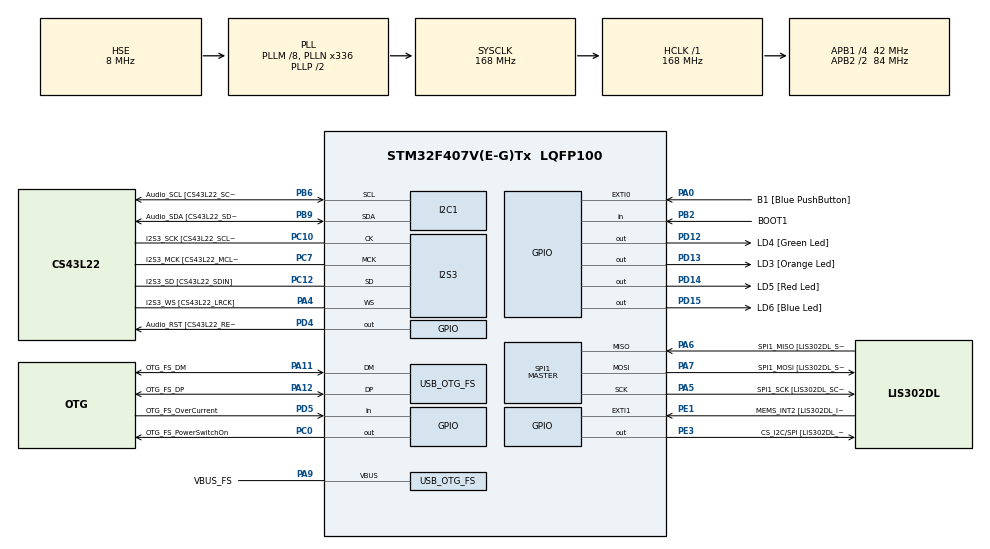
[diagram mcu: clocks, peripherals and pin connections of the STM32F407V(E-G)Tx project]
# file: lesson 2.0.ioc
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I2S3.AudioFreq-Half_Duplex_Master=I2S_AUDIOFREQ_96K
I2S3.ErrorAudioFreq=-2.34 %
I2S3.ErrorAudioFreq-Half_Duplex_Master=0.8 %
I2S3.FullDuplexMode=I2S_FULLDUPLEXMODE_DISABLE
I2S3.Instance=SPI$Index
I2S3.RealAudioFreq=93.75 KHz
I2S3.RealAudioFreq-Half_Duplex_Master=96.774 KHz
I2S3.VirtualMode=I2S_MODE_MASTER
Mcu.Family=STM32F4
Mcu.Name=STM32F407V(E-G)Tx
Mcu.Package=LQFP100
NVIC.OTG_FS_IRQn=true\:0\:0\:false\:false\:true\:true\:true
NVIC.PriorityGroup=NVIC_PRIORITYGROUP_0
PA0-WKUP.GPIO_Label=B1 [Blue PushButton]
PA0-WKUP.GPIO_ModeDefaultEXTI=GPIO_MODE_EVT_RISING
PA0-WKUP.GPIO_PuPd=GPIO_NOPULL
PA0-WKUP.Signal=GPXTI0
PA10.GPIO_Label=OTG_FS_ID
PA10.GPIO_Mode=GPIO_MODE_AF_PP
PA10.GPIO_PuPd=GPIO_NOPULL
PA10.GPIO_Speed=GPIO_SPEED_FREQ_LOW
PA10.Signal=USB_OTG_FS_ID
PA11.GPIO_Label=OTG_FS_DM
PA11.GPIO_Mode=GPIO_MODE_AF_PP
PA11.GPIO_PuPd=GPIO_NOPULL
PA11.GPIO_Speed=GPIO_SPEED_FREQ_LOW
PA11.Mode=Host_Only
PA11.Signal=USB_OTG_FS_DM
PA12.GPIO_Label=OTG_FS_DP
PA12.GPIO_Mode=GPIO_MODE_AF_PP
PA12.GPIO_PuPd=GPIO_NOPULL
PA12.GPIO_Speed=GPIO_SPEED_FREQ_LOW
PA12.Mode=Host_Only
PA12.Signal=USB_OTG_FS_DP
PA13.GPIO_Label=SWDIO
PA13.Mode=Serial_Wire
PA13.Signal=SYS_JTMS-SWDIO
PA14.GPIO_Label=SWCLK
PA14.Mode=Serial_Wire
PA14.Signal=SYS_JTCK-SWCLK
PA4.GPIO_Label=I2S3_WS [CS43L22_LRCK]
PA4.GPIO_Mode=GPIO_MODE_AF_PP
PA4.GPIO_PuPd=GPIO_NOPULL
PA4.GPIO_Speed=GPIO_SPEED_FREQ_LOW
PA4.Mode=Half_Duplex_Master
PA4.Signal=I2S3_WS
PA5.GPIO_Label=SPI1_SCK [LIS302DL_SCL/SPC]
PA5.GPIO_Mode=GPIO_MODE_AF_PP
PA5.GPIO_PuPd=GPIO_NOPULL
PA5.GPIO_Speed=GPIO_SPEED_FREQ_LOW
PA5.Mode=Full_Duplex_Master
PA5.Signal=SPI1_SCK
PA6.GPIO_Label=SPI1_MISO [LIS302DL_SDO]
PA6.GPIO_Mode=GPIO_MODE_AF_PP
PA6.GPIO_PuPd=GPIO_NOPULL
PA6.GPIO_Speed=GPIO_SPEED_FREQ_LOW
PA6.Mode=Full_Duplex_Master
PA6.Signal=SPI1_MISO
PA7.GPIO_Label=SPI1_MOSI [LIS302DL_SDA/SDI/SDO]
PA7.GPIO_Mode=GPIO_MODE_AF_PP
PA7.GPIO_PuPd=GPIO_NOPULL
PA7.GPIO_Speed=GPIO_SPEED_FREQ_LOW
PA7.Mode=Full_Duplex_Master
PA7.Signal=SPI1_MOSI
PA9.GPIO_Label=VBUS_FS
PA9.GPIO_Mode=GPIO_MODE_INPUT
PA9.GPIO_PuPd=GPIO_NOPULL
PA9.Mode=Activate_VBUS
PA9.Signal=USB_OTG_FS_VBUS
PB10.GPIO_Label=CLK_IN [MP45DT02_CLK]
PB10.GPIO_Mode=GPIO_MODE_AF_PP
PB10.GPIO_PuPd=GPIO_NOPULL
PB10.GPIO_Speed=GPIO_SPEED_FREQ_LOW
PB10.Signal=I2S2_CK
PB2.GPIO_Label=BOOT1
PB2.GPIO_Mode=GPIO_MODE_INPUT
PB2.GPIO_PuPd=GPIO_NOPULL
PB2.Signal=GPIO_Input
PB3.GPIO_Label=SWO
PB3.Signal=SYS_JTDO-SWO
PB6.GPIO_Label=Audio_SCL [CS43L22_SCL]
PB6.GPIO_Mode=GPIO_MODE_AF_OD
PB6.GPIO_PuPd=GPIO_NOPULL
PB6.GPIO_Speed=GPIO_SPEED_FREQ_LOW
PB6.Mode=I2C
PB6.Signal=I2C1_SCL
PB9.GPIO_Label=Audio_SDA [CS43L22_SDA]
PB9.GPIO_Mode=GPIO_MODE_AF_OD
PB9.GPIO_PuPd=GPIO_NOPULL
PB9.GPIO_Speed=GPIO_SPEED_FREQ_LOW
PB9.Mode=I2C
PB9.Signal=I2C1_SDA
PC0.GPIO_Label=OTG_FS_PowerSwitchOn
PC0.GPIO_PuPd=GPIO_NOPULL
PC0.GPIO_Speed=GPIO_SPEED_FREQ_LOW
PC0.PinState=GPIO_PIN_SET
PC0.Signal=GPIO_Output
PC10.GPIO_Label=I2S3_SCK [CS43L22_SCLK]
PC10.GPIO_Mode=GPIO_MODE_AF_PP
PC10.GPIO_PuPd=GPIO_NOPULL
PC10.GPIO_Speed=GPIO_SPEED_FREQ_LOW
PC10.Mode=Half_Duplex_Master
PC10.Signal=I2S3_CK
PC12.GPIO_Label=I2S3_SD [CS43L22_SDIN]
PC12.GPIO_Mode=GPIO_MODE_AF_PP
PC12.GPIO_PuPd=GPIO_NOPULL
PC12.GPIO_Speed=GPIO_SPEED_FREQ_LOW
PC12.Mode=Half_Duplex_Master
PC12.Signal=I2S3_SD
PC14-OSC32_IN.GPIO_Label=PC14-OSC32_IN
PC14-OSC32_IN.Mode=LSE-External-Oscillator
PC14-OSC32_IN.Signal=RCC_OSC32_IN
PC15-OSC32_OUT.GPIO_Label=PC15-OSC32_OUT
PC15-OSC32_OUT.Mode=LSE-External-Oscillator
PC15-OSC32_OUT.Signal=RCC_OSC32_OUT
PC3.GPIO_Label=PDM_OUT [MP45DT02_DOUT]
PC3.GPIO_Mode=GPIO_MODE_AF_PP
PC3.GPIO_PuPd=GPIO_NOPULL
PC3.GPIO_Speed=GPIO_SPEED_FREQ_LOW
PC3.Signal=I2S2_SD
PC7.GPIO_Label=I2S3_MCK [CS43L22_MCLK]
PC7.GPIO_Mode=GPIO_MODE_AF_PP
PC7.GPIO_PuPd=GPIO_NOPULL
PC7.GPIO_Speed=GPIO_SPEED_FREQ_LOW
PC7.Mode=Master_Clock_Activated
PC7.Signal=I2S3_MCK
PD12.GPIO_Label=LD4 [Green Led]
PD12.GPIO_PuPd=GPIO_NOPULL
PD12.GPIO_Speed=GPIO_SPEED_FREQ_LOW
PD12.Signal=GPIO_Output
PD13.GPIO_Label=LD3 [Orange Led]
PD13.GPIO_PuPd=GPIO_NOPULL
PD13.GPIO_Speed=GPIO_SPEED_FREQ_LOW
PD13.Signal=GPIO_Output
PD14.GPIO_Label=LD5 [Red Led]
PD14.GPIO_PuPd=GPIO_NOPULL
PD14.GPIO_Speed=GPIO_SPEED_FREQ_LOW
PD14.Signal=GPIO_Output
PD15.GPIO_Label=LD6 [Blue Led]
PD15.GPIO_PuPd=GPIO_NOPULL
PD15.GPIO_Speed=GPIO_SPEED_FREQ_LOW
PD15.Signal=GPIO_Output
PD4.GPIO_Label=Audio_RST [CS43L22_RESET]
PD4.GPIO_PuPd=GPIO_NOPULL
PD4.GPIO_Speed=GPIO_SPEED_FREQ_LOW
PD4.Signal=GPIO_Output
PD5.GPIO_Label=OTG_FS_OverCurrent
PD5.GPIO_Mode=GPIO_MODE_INPUT
PD5.GPIO_PuPd=GPIO_NOPULL
PD5.Signal=GPIO_Input
PE1.GPIO_Label=MEMS_INT2 [LIS302DL_INT2]
PE1.GPIO_ModeDefaultEXTI=GPIO_MODE_EVT_RISING
PE1.GPIO_PuPd=GPIO_NOPULL
PE1.Signal=GPXTI1
PE3.GPIO_Label=CS_I2C/SPI [LIS302DL_CS_I2C/SPI]
PE3.GPIO_PuPd=GPIO_NOPULL
PE3.GPIO_Speed=GPIO_SPEED_FREQ_LOW
PE3.Signal=GPIO_Output
PH0-OSC_IN.GPIO_Label=PH0-OSC_IN
PH0-OSC_IN.Mode=HSE-External-Oscillator
PH0-OSC_IN.Signal=RCC_OSC_IN
PH1-OSC_OUT.GPIO_Label=PH1-OSC_OUT
PH1-OSC_OUT.Mode=HSE-External-Oscillator
PH1-OSC_OUT.Signal=RCC_OSC_OUT
ProjectManager.HeapSize=0x200
ProjectManager.StackSize=0x400
ProjectManager.TargetToolchain=STM32CubeIDE
RCC.48MHZClocksFreq_Value=48000000
RCC.AHBFreq_Value=168000000
RCC.APB1CLKDivider=RCC_HCLK_DIV4
RCC.APB1Freq_Value=42000000
RCC.APB1TimFreq_Value=84000000
RCC.APB2CLKDivider=RCC_HCLK_DIV2
RCC.APB2Freq_Value=84000000
RCC.APB2TimFreq_Value=168000000
RCC.CortexFreq_Value=168000000
RCC.HCLKFreq_Value=168000000
RCC.HSE_VALUE=8000000
RCC.HSI_VALUE=16000000
RCC.PLLM=8
RCC.PLLN=336
RCC.PLLQ=7
RCC.SYSCLKFreq_VALUE=168000000
RCC.SYSCLKSource=RCC_SYSCLKSOURCE_PLLCLK
RCC.VCOOutputFreq_Value=336000000
SPI1.BaudRatePrescaler-Full_Duplex_Master=SPI_BAUDRATEPRESCALER_2
SPI1.CalculateBaudRate-Full_Duplex_Master=42.0 MBits/s
SPI1.Direction=SPI_DIRECTION_2LINES
SPI1.Mode=SPI_MODE_MASTER
SPI1.Mode-Full_Duplex_Master=SPI_MODE_MASTER
SPI1.VirtualType=VM_MASTER
USB_HOST.BSP.number=1
USB_HOST.USBH_HandleTypeDef-CDC_FS=hUsbHostFS
USB_HOST.VirtualModeFS=Cdc
USB_HOST0.BSP.STBoard=false
USB_HOST0.BSP.api=Unknown
USB_HOST0.BSP.i2caddr=0
USB_HOST0.BSP.i2creg=0
USB_HOST0.BSP.instance=PC0
USB_HOST0.BSP.ip=GPIO
USB_HOST0.BSP.mode=Output
USB_HOST0.BSP.name=Drive_VBUS_FS
USB_HOST0.BSP.solution=PC0
USB_OTG_FS.VirtualMode=Host_Only
USB_OTG_FS.phy_itface=HCD_PHY_EMBEDDED
VP_USB_HOST_VS_USB_HOST_CDC_FS.Mode=CDC_FS
board=STM32F4DISCOVERY

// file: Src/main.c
/* USER CODE BEGIN Header */
/**
  ******************************************************************************
  * @file           : main.c
  * @brief          : Main program body
  ******************************************************************************
  * @attention
  *
  * <h2><center>&copy; Copyright (c) 2019 STMicroelectronics.
  * All rights reserved.</center></h2>
  *
  * This software component is licensed by ST under Ultimate Liberty license
  * SLA0044, the "License"; You may not use this file except in compliance with
  * the License. You may obtain a copy of the License at:
  *                             www.st.com/SLA0044
  *
  ******************************************************************************
  */
/* USER CODE END Header */

#include "main.h"
#include "usb_host.h"
#include "DrvLED.h"
#include "heartbeat.h"

I2C_HandleTypeDef hi2c1;

I2S_HandleTypeDef hi2s3;

SPI_HandleTypeDef hspi1;

void SystemClock_Config(void);
static void MX_GPIO_Init(void);
static void MX_I2C1_Init(void);
static void MX_I2S3_Init(void);
static void MX_SPI1_Init(void);
void MX_USB_HOST_Process(void);

int main(void)
{

  /* MCU Configuration--------------------------------------------------------*/

  /* Reset of all peripherals, Initializes the Flash interface and the Systick. */
  HAL_Init();

  /* Configure the system clock */
  SystemClock_Config();

  /* Initialize all configured peripherals */
  MX_GPIO_Init();
  MX_I2C1_Init();
  MX_I2S3_Init();
  MX_SPI1_Init();
  MX_USB_HOST_Init();

  /* Infinite loop */
  while (1)
  {
    MX_USB_HOST_Process();

    /* USER CODE BEGIN 3 */
    for(int i = 0; i<7; i++)
    {
    	heartbeat(LED_GREEN, 500);
    }
    drvLeds_ON(LED_BLUE|LED_GREEN|LED_ORANGE|LED_RED);
    Delay(5000);
    drvLeds_OFF(LED_BLUE|LED_GREEN|LED_ORANGE|LED_RED);
    Delay(150);
    for(;;)
    {
    	drvLeds_ON(LED_RED);
    	Delay(500);
    	drvLeds_OFF(LED_RED);
    	drvLeds_ON(LED_BLUE);
    	Delay(500);
      	drvLeds_OFF(LED_BLUE);
    	drvLeds_ON(LED_GREEN);
        Delay(500);
    	drvLeds_OFF(LED_GREEN);
    	drvLeds_ON(LED_ORANGE);
    	Delay(500);
    	drvLeds_OFF(LED_ORANGE);
    	Delay(500);
    }

  }
  /* USER CODE END 3 */
}

void SystemClock_Config(void)
{
  RCC_OscInitTypeDef RCC_OscInitStruct = {0};
  RCC_ClkInitTypeDef RCC_ClkInitStruct = {0};
  RCC_PeriphCLKInitTypeDef PeriphClkInitStruct = {0};

  /** Configure the main internal regulator output voltage
  */
  __HAL_RCC_PWR_CLK_ENABLE();
  __HAL_PWR_VOLTAGESCALING_CONFIG(PWR_REGULATOR_VOLTAGE_SCALE1);
  /** Initializes the CPU, AHB and APB busses clocks
  */
  RCC_OscInitStruct.OscillatorType = RCC_OSCILLATORTYPE_HSE;
  RCC_OscInitStruct.HSEState = RCC_HSE_ON;
  RCC_OscInitStruct.PLL.PLLState = RCC_PLL_ON;
  RCC_OscInitStruct.PLL.PLLSource = RCC_PLLSOURCE_HSE;
  RCC_OscInitStruct.PLL.PLLM = 8;
  RCC_OscInitStruct.PLL.PLLN = 336;
  RCC_OscInitStruct.PLL.PLLP = RCC_PLLP_DIV2;
  RCC_OscInitStruct.PLL.PLLQ = 7;
  if (HAL_RCC_OscConfig(&RCC_OscInitStruct) != HAL_OK)
  {
    Error_Handler();
  }
  /** Initializes the CPU, AHB and APB busses clocks
  */
  RCC_ClkInitStruct.ClockType = RCC_CLOCKTYPE_HCLK|RCC_CLOCKTYPE_SYSCLK
                              |RCC_CLOCKTYPE_PCLK1|RCC_CLOCKTYPE_PCLK2;
  RCC_ClkInitStruct.SYSCLKSource = RCC_SYSCLKSOURCE_PLLCLK;
  RCC_ClkInitStruct.AHBCLKDivider = RCC_SYSCLK_DIV1;
  RCC_ClkInitStruct.APB1CLKDivider = RCC_HCLK_DIV4;
  RCC_ClkInitStruct.APB2CLKDivider = RCC_HCLK_DIV2;

  if (HAL_RCC_ClockConfig(&RCC_ClkInitStruct, FLASH_LATENCY_5) != HAL_OK)
  {
    Error_Handler();
  }
  PeriphClkInitStruct.PeriphClockSelection = RCC_PERIPHCLK_I2S;
  PeriphClkInitStruct.PLLI2S.PLLI2SN = 192;
  PeriphClkInitStruct.PLLI2S.PLLI2SR = 2;
  if (HAL_RCCEx_PeriphCLKConfig(&PeriphClkInitStruct) != HAL_OK)
  {
    Error_Handler();
  }
}

static void MX_I2C1_Init(void)
{

  hi2c1.Instance = I2C1;
  hi2c1.Init.ClockSpeed = 100000;
  hi2c1.Init.DutyCycle = I2C_DUTYCYCLE_2;
  hi2c1.Init.OwnAddress1 = 0;
  hi2c1.Init.AddressingMode = I2C_ADDRESSINGMODE_7BIT;
  hi2c1.Init.DualAddressMode = I2C_DUALADDRESS_DISABLE;
  hi2c1.Init.OwnAddress2 = 0;
  hi2c1.Init.GeneralCallMode = I2C_GENERALCALL_DISABLE;
  hi2c1.Init.NoStretchMode = I2C_NOSTRETCH_DISABLE;
  if (HAL_I2C_Init(&hi2c1) != HAL_OK)
  {
    Error_Handler();
  }

}

static void MX_I2S3_Init(void)
{

  hi2s3.Instance = SPI3;
  hi2s3.Init.Mode = I2S_MODE_MASTER_TX;
  hi2s3.Init.Standard = I2S_STANDARD_PHILIPS;
  hi2s3.Init.DataFormat = I2S_DATAFORMAT_16B;
  hi2s3.Init.MCLKOutput = I2S_MCLKOUTPUT_ENABLE;
  hi2s3.Init.AudioFreq = I2S_AUDIOFREQ_96K;
  hi2s3.Init.CPOL = I2S_CPOL_LOW;
  hi2s3.Init.ClockSource = I2S_CLOCK_PLL;
  hi2s3.Init.FullDuplexMode = I2S_FULLDUPLEXMODE_DISABLE;
  if (HAL_I2S_Init(&hi2s3) != HAL_OK)
  {
    Error_Handler();
  }

}

static void MX_SPI1_Init(void)
{

  /* SPI1 parameter configuration*/
  hspi1.Instance = SPI1;
  hspi1.Init.Mode = SPI_MODE_MASTER;
  hspi1.Init.Direction = SPI_DIRECTION_2LINES;
  hspi1.Init.DataSize = SPI_DATASIZE_8BIT;
  hspi1.Init.CLKPolarity = SPI_POLARITY_LOW;
  hspi1.Init.CLKPhase = SPI_PHASE_1EDGE;
  hspi1.Init.NSS = SPI_NSS_SOFT;
  hspi1.Init.BaudRatePrescaler = SPI_BAUDRATEPRESCALER_2;
  hspi1.Init.FirstBit = SPI_FIRSTBIT_MSB;
  hspi1.Init.TIMode = SPI_TIMODE_DISABLE;
  hspi1.Init.CRCCalculation = SPI_CRCCALCULATION_DISABLE;
  hspi1.Init.CRCPolynomial = 10;
  if (HAL_SPI_Init(&hspi1) != HAL_OK)
  {
    Error_Handler();
  }

}

static void MX_GPIO_Init(void)
{
  GPIO_InitTypeDef GPIO_InitStruct = {0};

  /* GPIO Ports Clock Enable */
  __HAL_RCC_GPIOE_CLK_ENABLE();
  __HAL_RCC_GPIOC_CLK_ENABLE();
  __HAL_RCC_GPIOH_CLK_ENABLE();
  __HAL_RCC_GPIOA_CLK_ENABLE();
  __HAL_RCC_GPIOB_CLK_ENABLE();
  __HAL_RCC_GPIOD_CLK_ENABLE();

  /*Configure GPIO pin Output Level */
  HAL_GPIO_WritePin(CS_I2C_SPI_GPIO_Port, CS_I2C_SPI_Pin, GPIO_PIN_RESET);

  /*Configure GPIO pin Output Level */
  HAL_GPIO_WritePin(OTG_FS_PowerSwitchOn_GPIO_Port, OTG_FS_PowerSwitchOn_Pin, GPIO_PIN_SET);

  /*Configure GPIO pin Output Level */
  HAL_GPIO_WritePin(GPIOD, LD4_Pin|LD3_Pin|LD5_Pin|LD6_Pin
                          |Audio_RST_Pin, GPIO_PIN_RESET);

  /*Configure GPIO pin : CS_I2C_SPI_Pin */
  GPIO_InitStruct.Pin = CS_I2C_SPI_Pin;
  GPIO_InitStruct.Mode = GPIO_MODE_OUTPUT_PP;
  GPIO_InitStruct.Pull = GPIO_NOPULL;
  GPIO_InitStruct.Speed = GPIO_SPEED_FREQ_LOW;
  HAL_GPIO_Init(CS_I2C_SPI_GPIO_Port, &GPIO_InitStruct);

  /*Configure GPIO pin : OTG_FS_PowerSwitchOn_Pin */
  GPIO_InitStruct.Pin = OTG_FS_PowerSwitchOn_Pin;
  GPIO_InitStruct.Mode = GPIO_MODE_OUTPUT_PP;
  GPIO_InitStruct.Pull = GPIO_NOPULL;
  GPIO_InitStruct.Speed = GPIO_SPEED_FREQ_LOW;
  HAL_GPIO_Init(OTG_FS_PowerSwitchOn_GPIO_Port, &GPIO_InitStruct);

  /*Configure GPIO pin : PDM_OUT_Pin */
  GPIO_InitStruct.Pin = PDM_OUT_Pin;
  GPIO_InitStruct.Mode = GPIO_MODE_AF_PP;
  GPIO_InitStruct.Pull = GPIO_NOPULL;
  GPIO_InitStruct.Speed = GPIO_SPEED_FREQ_LOW;
  GPIO_InitStruct.Alternate = GPIO_AF5_SPI2;
  HAL_GPIO_Init(PDM_OUT_GPIO_Port, &GPIO_InitStruct);

  /*Configure GPIO pin : B1_Pin */
  GPIO_InitStruct.Pin = B1_Pin;
  GPIO_InitStruct.Mode = GPIO_MODE_EVT_RISING;
  GPIO_InitStruct.Pull = GPIO_NOPULL;
  HAL_GPIO_Init(B1_GPIO_Port, &GPIO_InitStruct);

  /*Configure GPIO pin : BOOT1_Pin */
  GPIO_InitStruct.Pin = BOOT1_Pin;
  GPIO_InitStruct.Mode = GPIO_MODE_INPUT;
  GPIO_InitStruct.Pull = GPIO_NOPULL;
  HAL_GPIO_Init(BOOT1_GPIO_Port, &GPIO_InitStruct);

  /*Configure GPIO pin : CLK_IN_Pin */
  GPIO_InitStruct.Pin = CLK_IN_Pin;
  GPIO_InitStruct.Mode = GPIO_MODE_AF_PP;
  GPIO_InitStruct.Pull = GPIO_NOPULL;
  GPIO_InitStruct.Speed = GPIO_SPEED_FREQ_LOW;
  GPIO_InitStruct.Alternate = GPIO_AF5_SPI2;
  HAL_GPIO_Init(CLK_IN_GPIO_Port, &GPIO_InitStruct);

  /*Configure GPIO pins : LD4_Pin LD3_Pin LD5_Pin LD6_Pin
                           Audio_RST_Pin */
  GPIO_InitStruct.Pin = LD4_Pin|LD3_Pin|LD5_Pin|LD6_Pin
                          |Audio_RST_Pin;
  GPIO_InitStruct.Mode = GPIO_MODE_OUTPUT_PP;
  GPIO_InitStruct.Pull = GPIO_NOPULL;
  GPIO_InitStruct.Speed = GPIO_SPEED_FREQ_LOW;
  HAL_GPIO_Init(GPIOD, &GPIO_InitStruct);

  /*Configure GPIO pin : OTG_FS_OverCurrent_Pin */
  GPIO_InitStruct.Pin = OTG_FS_OverCurrent_Pin;
  GPIO_InitStruct.Mode = GPIO_MODE_INPUT;
  GPIO_InitStruct.Pull = GPIO_NOPULL;
  HAL_GPIO_Init(OTG_FS_OverCurrent_GPIO_Port, &GPIO_InitStruct);

  /*Configure GPIO pin : MEMS_INT2_Pin */
  GPIO_InitStruct.Pin = MEMS_INT2_Pin;
  GPIO_InitStruct.Mode = GPIO_MODE_EVT_RISING;
  GPIO_InitStruct.Pull = GPIO_NOPULL;
  HAL_GPIO_Init(MEMS_INT2_GPIO_Port, &GPIO_InitStruct);

}

void Error_Handler(void)
{
}

/************************ (C) COPYRIGHT STMicroelectronics *****END OF FILE****/
